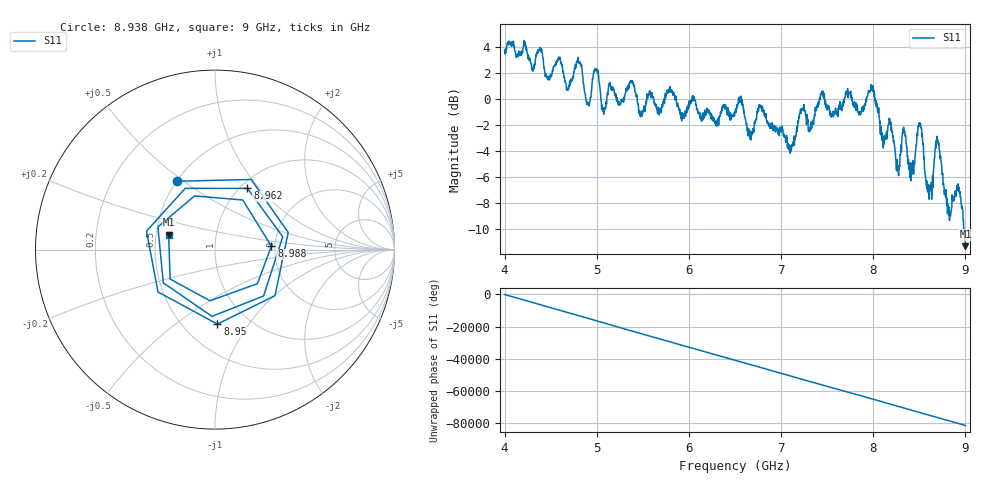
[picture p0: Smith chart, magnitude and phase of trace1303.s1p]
! Created with skrf 1.8.0 (http://scikit-rf.org).
# Hz S RI R 50.0
!freq ReS11 ImS11
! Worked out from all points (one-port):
!   1601 points, 4 GHz to 9 GHz, reference 50 ohm
!   lowest |S11| = -11.3 dB at 9 GHz (marker M1), VSWR 1.74, Z = 29.1 + j5.21 ohm
!   |S11| at or under -10 dB: 8.984862 GHz to end of sweep
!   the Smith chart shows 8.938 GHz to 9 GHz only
!   S11 on the Smith chart (normalised r, x): 8.938 GHz: 0.50, +0.47; 8.95 GHz: 0.72, -0.72; 8.962 GHz: 1.08, +0.87; 8.988 GHz: 1.91, +0.08; 9 GHz: 0.58, +0.10
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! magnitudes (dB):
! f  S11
! 4 GHz  3.7
! 4.625 GHz  2.6
! 5.25 GHz  -0.4
! 5.378 GHz  1.2
! 5.481 GHz  -1.4
! 5.875 GHz  -0.5
! 6.5 GHz  -1.1
! 6.669 GHz  -3.0
! 6.784 GHz  -0.6
! 7.125 GHz  -3.7
! 7.225 GHz  -0.8
! 7.319 GHz  -2.4
! 7.438 GHz  0.3
! 7.75 GHz  0.5
! 7.988 GHz  0.9
! 8.262 GHz  -5.4
! 8.334 GHz  -2.4
! 8.375 GHz  -4.4
! 8.425 GHz  -5.6
! 8.506 GHz  -2.0
! 8.594 GHz  -6.6
! 8.697 GHz  -3.2
! 8.822 GHz  -8.3
! 8.938 GHz  -7.2
! 8.95 GHz  -7.6
! 8.962 GHz  -8.3
! 8.988 GHz  -10.0
! 9 GHz  -11.3
